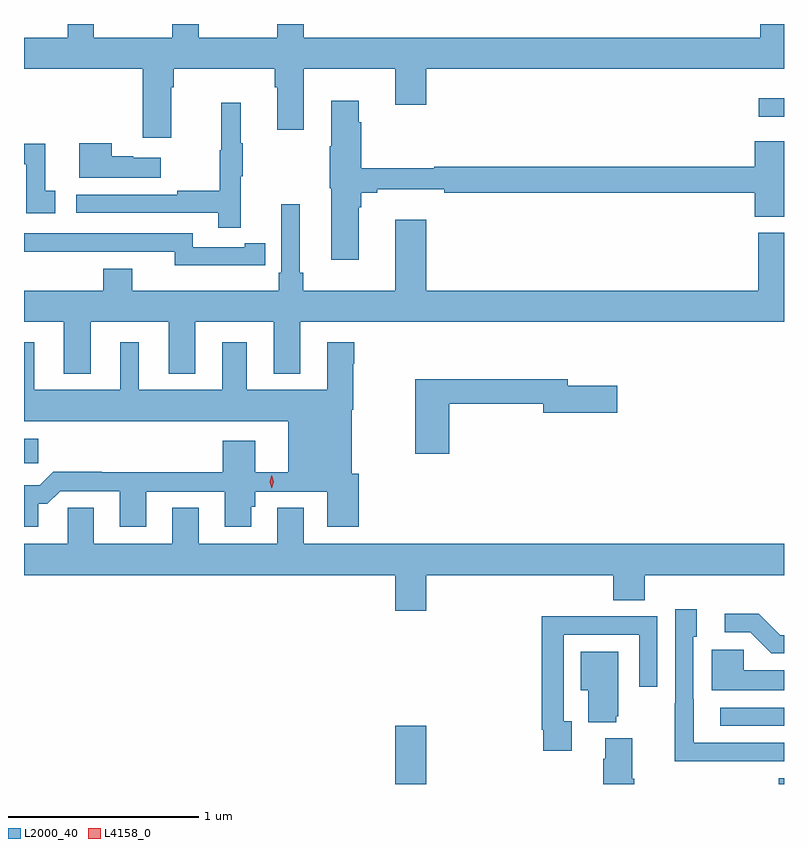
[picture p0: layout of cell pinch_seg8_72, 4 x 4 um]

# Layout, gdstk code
import gdstk
lib = gdstk.Library(unit=1e-6, precision=1e-09)
def R(c, l, rs):  # rectangles x0, y0, x1, y1
    for r in rs: c.add(gdstk.rectangle(r[:2], r[2:], *l))
def P(c, l, *ps):  # polygons
    for p in ps: c.add(gdstk.Polygon(p, *l))
L2000_40 = (2000, 40)
L4158_0 = (4158, 0)

pinch_seg8_72 = lib.new_cell('pinch_seg8_72')
R(pinch_seg8_72, L2000_40, [(908.264,1095.42,908.428,1095.727), (910.283,1095.42,910.311,1095.451), (909.975,1095.726,910.311,1095.822), (906.311,1097.107,906.385,1097.236), (910.179,1098.932,910.311,1099.03)])
P(pinch_seg8_72, L2000_40, [(907.087,1099.088),(907.1,1099.088),(907.1,1099.184),(907.631,1099.184),(907.631,1099.088),(907.643,1099.088),(907.643,1098.864),(907.783,1098.864),(907.783,1099.184),(908.264,1099.184),(908.264,1098.996),(908.428,1098.996),(908.428,1099.184),(910.311,1099.184),(910.311,1099.42),(910.187,1099.42),(910.187,1099.348),(907.783,1099.348),(907.783,1099.42),(907.643,1099.42),(907.643,1099.348),(907.231,1099.348),(907.231,1099.42),(907.091,1099.42),(907.091,1099.348),(906.679,1099.348),(906.679,1099.42),(906.54,1099.42),(906.54,1099.348),(906.311,1099.348),(906.311,1099.184),(906.935,1099.184),(906.935,1098.822),(907.087,1098.822)],
  [(908.074,1098.455),(908.087,1098.455),(908.087,1098.532),(908.17,1098.532),(908.17,1098.551),(908.524,1098.551),(908.524,1098.532),(910.157,1098.532),(910.157,1098.406),(910.311,1098.406),(910.311,1098.802),(910.157,1098.802),(910.157,1098.668),(908.47,1098.668),(908.47,1098.661),(908.087,1098.661),(908.087,1098.902),(908.074,1098.902),(908.074,1099.015),(907.928,1099.015),(907.928,1098.776),(907.921,1098.776),(907.921,1098.555),(907.928,1098.555),(907.928,1098.18),(908.074,1098.18)],
  [(907.451,1098.619),(907.462,1098.619),(907.462,1098.793),(907.451,1098.793),(907.451,1099.006),(907.348,1099.006),(907.348,1098.756),(907.341,1098.756),(907.341,1098.542),(907.117,1098.542),(907.117,1098.522),(906.585,1098.522),(906.585,1098.426),(907.333,1098.426),(907.333,1098.348),(907.451,1098.348)],
  [(907.03,1098.715),(906.887,1098.715),(906.887,1098.725),(906.773,1098.725),(906.773,1098.793),(906.602,1098.793),(906.602,1098.611),(907.03,1098.611)],
  [(906.475,1098.543),(906.422,1098.543),(906.422,1098.79),(906.311,1098.79),(906.311,1098.681),(906.324,1098.681),(906.324,1098.423),(906.475,1098.423)],
  [(906.661,1097.852),(907.073,1097.852),(907.073,1097.579),(907.213,1097.579),(907.213,1097.852),(907.625,1097.852),(907.625,1097.579),(907.765,1097.579),(907.765,1097.852),(910.311,1097.852),(910.311,1098.321),(910.175,1098.321),(910.175,1098.016),(908.428,1098.016),(908.428,1098.391),(908.264,1098.391),(908.264,1098.016),(907.781,1098.016),(907.781,1098.112),(907.762,1098.112),(907.762,1098.472),(907.665,1098.472),(907.665,1098.112),(907.652,1098.112),(907.652,1098.016),(906.88,1098.016),(906.88,1098.133),(906.728,1098.133),(906.728,1098.016),(906.311,1098.016),(906.311,1097.852),(906.521,1097.852),(906.521,1097.579),(906.661,1097.579)],
  [(907.472,1098.15),(907.58,1098.15),(907.58,1098.266),(907.472,1098.266),(907.472,1098.246),(907.2,1098.246),(907.2,1098.318),(906.311,1098.318),(906.311,1098.221),(906.644,1098.221),(906.644,1098.222),(907.104,1098.222),(907.104,1098.149),(907.472,1098.149)],
  [(906.385,1096.895),(906.434,1096.895),(906.501,1096.962),(906.815,1096.962),(906.815,1096.773),(906.955,1096.773),(906.955,1096.959),(907.367,1096.959),(907.367,1096.773),(907.507,1096.773),(907.507,1096.878),(907.528,1096.878),(907.528,1096.959),(907.907,1096.959),(907.907,1096.773),(908.072,1096.773),(908.072,1097.052),(908.035,1097.052),(908.035,1097.39),(908.043,1097.39),(908.043,1097.633),(908.048,1097.633),(908.048,1097.746),(907.907,1097.746),(907.907,1097.494),(907.483,1097.494),(907.483,1097.746),(907.355,1097.746),(907.355,1097.494),(906.916,1097.494),(906.916,1097.746),(906.818,1097.746),(906.818,1097.494),(906.364,1097.494),(906.364,1097.746),(906.311,1097.746),(906.311,1097.33),(907.703,1097.33),(907.703,1097.06),(907.528,1097.06),(907.528,1097.227),(907.358,1097.227),(907.358,1097.06),(906.719,1097.06),(906.719,1097.063),(906.464,1097.063),(906.394,1096.993),(906.311,1096.993),(906.311,1096.773),(906.385,1096.773)],
  [(908.549,1097.422),(909.044,1097.422),(909.044,1097.375),(909.433,1097.375),(909.433,1097.517),(909.172,1097.517),(909.172,1097.551),(908.371,1097.551),(908.371,1097.157),(908.549,1097.157)],
  [(908.428,1096.52),(909.413,1096.52),(909.413,1096.387),(909.578,1096.387),(909.578,1096.52),(910.311,1096.52),(910.311,1096.684),(907.783,1096.684),(907.783,1096.874),(907.643,1096.874),(907.643,1096.684),(907.231,1096.684),(907.231,1096.874),(907.091,1096.874),(907.091,1096.684),(906.679,1096.684),(906.679,1096.874),(906.54,1096.874),(906.54,1096.684),(906.311,1096.684),(906.311,1096.52),(908.264,1096.52),(908.264,1096.332),(908.428,1096.332)],
  [(910.199,1095.54),(910.311,1095.54),(910.311,1095.636),(909.835,1095.636),(909.835,1095.866),(909.834,1095.866),(909.834,1096.194),(909.853,1096.194),(909.853,1096.339),(909.738,1096.339),(909.738,1095.845),(909.736,1095.845),(909.736,1095.539),(910.199,1095.539)],
  [(910.311,1096.203),(910.29,1096.203),(910.177,1096.316),(909.999,1096.316),(909.999,1096.218),(910.133,1096.218),(910.244,1096.107),(910.311,1096.107)],
  [(909.193,1095.75),(909.153,1095.75),(909.153,1096.206),(909.549,1096.206),(909.549,1095.933),(909.645,1095.933),(909.645,1096.302),(909.329,1096.302),(909.329,1096.304),(909.037,1096.304),(909.037,1095.706),(909.045,1095.706),(909.045,1095.594),(909.193,1095.594)],
  [(910.311,1096.018),(910.098,1096.018),(910.098,1096.126),(909.932,1096.126),(909.932,1095.914),(910.311,1095.914)],
  [(909.428,1095.777),(909.439,1095.777),(909.439,1096.117),(909.242,1096.117),(909.242,1095.914),(909.281,1095.914),(909.281,1095.746),(909.428,1095.746)],
  [(909.524,1095.448),(909.511,1095.448),(909.511,1095.661),(909.371,1095.661),(909.371,1095.554),(909.359,1095.554),(909.359,1095.42),(909.524,1095.42)])
P(pinch_seg8_72, L4158_0, [(907.615,1096.977),(907.605,1097.01),(907.614,1097.044),(907.614,1097.044),(907.614,1097.044),(907.625,1097.011),(907.616,1096.977),(907.616,1096.977)])

lib.write_gds('pinch_seg8_72.gds')
